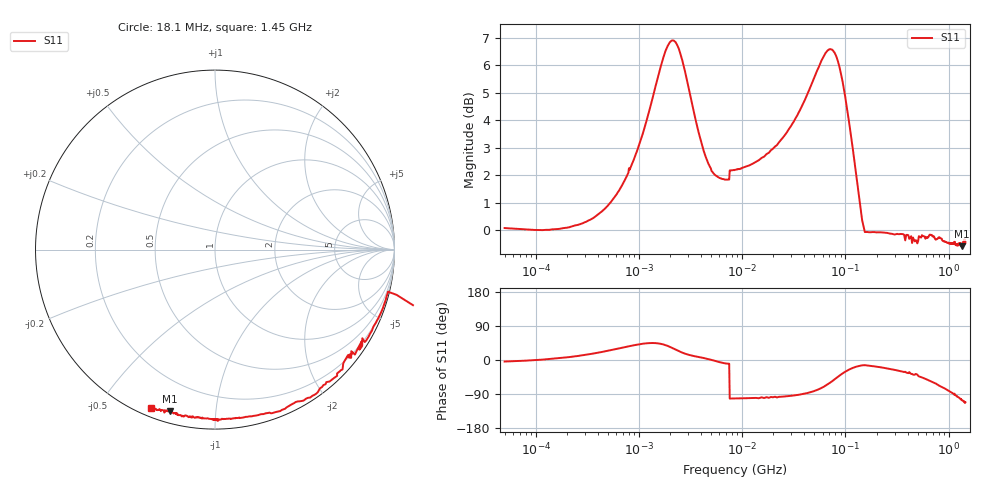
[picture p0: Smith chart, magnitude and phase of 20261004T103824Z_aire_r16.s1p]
! piloto_corto / aire / r16
# HZ S RI R 50
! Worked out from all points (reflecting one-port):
!   501 points, 50 kHz to 1.45 GHz, reference 50 ohm
!   lowest |S11| = -0.6 dB at 1.337 GHz (marker M1), VSWR 29.64, Z = 2.66 - j38 ohm
!   phase of S11 starts at -4 deg and turns -108 deg over the sweep
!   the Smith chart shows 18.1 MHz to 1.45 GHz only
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50000  1.006 -0.0713
183000  1.003 0.1014
658000  1.016 0.617
1180000  1.134 1.095
1630000  1.463 1.345
1990000  1.802 1.254
2440000  1.961 0.8413
3430000  1.599 0.2893
4870000  1.302 0.0301
7300000  1.218 -0.2097
7750000  -0.2589 -1.257
8560000  -0.2555 -1.261
1.81e7  -0.2377 -1.361
3.16e7  -0.0984 -1.572
4.78e7  0.2102 -1.845
6.58e7  0.8593 -1.93
7.57e7  1.236 -1.723
8.83e7  1.495 -1.274
9.82e7  1.504 -0.9356
1e8  1.494 -0.8808
1.18e8  1.31 -0.4969
1.36e8  1.103 -0.3096
1.63e8  0.9604 -0.2479
4.06e8  0.8043 -0.5577
6.94e8  0.5179 -0.8258
1.036e9  0.1002 -0.9403
1.3375e9  -0.2496 -0.9008
1.45e9  -0.3538 -0.8826
